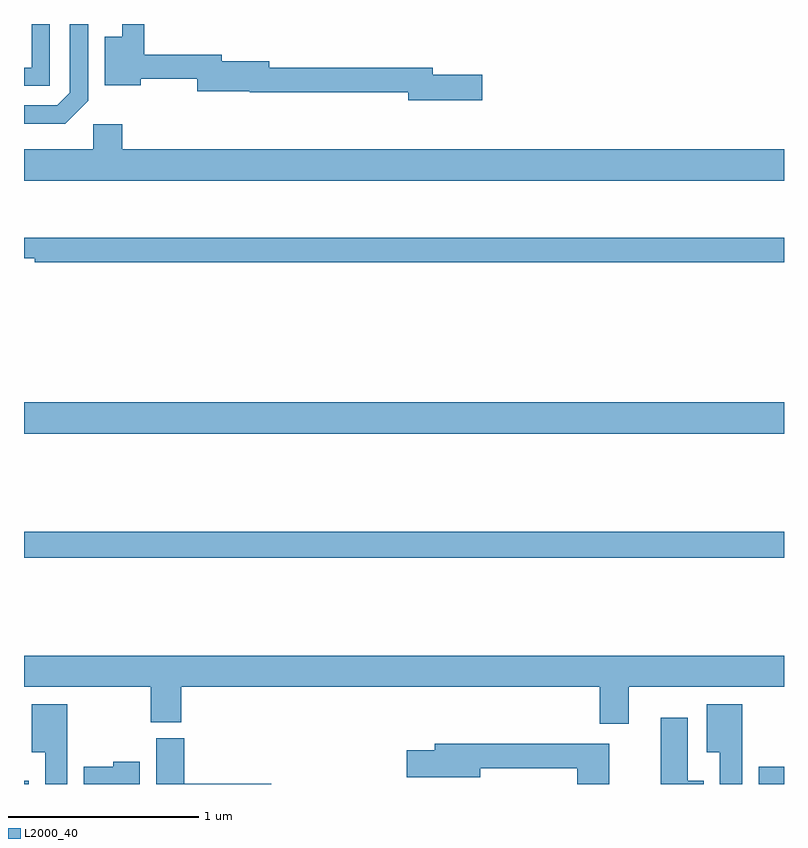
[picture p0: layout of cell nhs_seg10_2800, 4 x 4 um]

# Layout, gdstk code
import gdstk
lib = gdstk.Library(unit=1e-6, precision=1e-09)
def R(c, l, rs):  # rectangles x0, y0, x1, y1
    for r in rs: c.add(gdstk.rectangle(r[:2], r[2:], *l))
def P(c, l, *ps):  # polygons
    for p in ps: c.add(gdstk.Polygon(p, *l))
L2000_40 = (2000, 40)

nhs_seg10_2800 = lib.new_cell('nhs_seg10_2800')
R(nhs_seg10_2800, L2000_40, [(263,1270.5,263.026,1270.516), (266.867,1270.5,267,1270.591), (263,1271.692,267,1271.828), (263,1272.344,267,1272.508)])
P(nhs_seg10_2800, L2000_40, [(265.411,1274.234),(265.15,1274.234),(265.15,1274.27),(264.292,1274.27),(264.292,1274.303),(264.04,1274.303),(264.04,1274.339),(263.633,1274.339),(263.633,1274.5),(263.516,1274.5),(263.516,1274.434),(263.426,1274.434),(263.426,1274.177),(263.614,1274.177),(263.614,1274.211),(263.912,1274.211),(263.912,1274.146),(264.188,1274.146),(264.188,1274.142),(265.022,1274.142),(265.022,1274.099),(265.411,1274.099)],
  [(263.337,1274.097),(263.337,1274.5),(263.241,1274.5),(263.241,1274.139),(263.175,1274.073),(263,1274.073),(263,1273.976),(263.216,1273.976)],
  [(263.136,1274.5),(263.04,1274.5),(263.04,1274.271),(263,1274.271),(263,1274.175),(263.136,1274.175)],
  [(267,1273.84),(263.516,1273.84),(263.516,1273.972),(263.364,1273.972),(263.364,1273.84),(263,1273.84),(263,1273.676),(267,1273.676)],
  [(267,1273.375),(263,1273.375),(263,1273.266),(263.056,1273.266),(263.056,1273.246),(267,1273.246)],
  [(266.182,1271.012),(267,1271.012),(267,1271.176),(263,1271.176),(263,1271.012),(263.668,1271.012),(263.668,1270.825),(263.828,1270.825),(263.828,1271.012),(266.03,1271.012),(266.03,1270.818),(266.182,1270.818)],
  [(263.227,1270.921),(263.042,1270.921),(263.042,1270.667),(263.111,1270.667),(263.111,1270.5),(263.227,1270.5)],
  [(266.779,1270.921),(266.594,1270.921),(266.594,1270.667),(266.663,1270.667),(266.663,1270.5),(266.779,1270.5)],
  [(266.578,1270.516),(266.494,1270.516),(266.494,1270.849),(266.351,1270.849),(266.351,1270.5),(266.578,1270.5)],
  [(264.301,1270.502),(263.843,1270.502),(263.843,1270.74),(263.696,1270.74),(263.696,1270.5),(264.301,1270.5)],
  [(266.08,1270.711),(265.163,1270.711),(265.163,1270.677),(265.014,1270.677),(265.014,1270.535),(265.402,1270.535),(265.402,1270.582),(265.913,1270.582),(265.913,1270.5),(266.08,1270.5)],
  [(263.608,1270.618),(263.469,1270.618),(263.469,1270.591),(263.315,1270.591),(263.315,1270.5),(263.608,1270.5)])

lib.write_gds('nhs_seg10_2800.gds')
